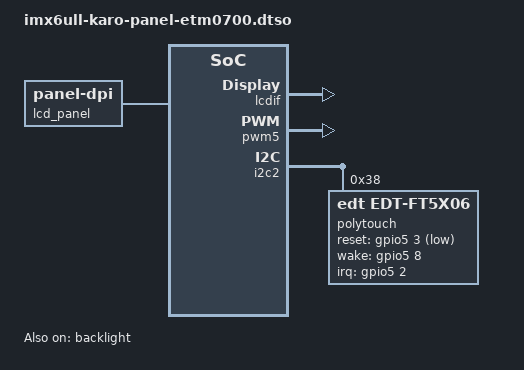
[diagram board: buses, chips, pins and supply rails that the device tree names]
// SPDX-License-Identifier: (GPL-2.0 OR MIT)
/*
 * Copyright 2026 Ka-Ro electronics GmbH
 *
 * EDT ETM0700G0DH6 800x480 RGB panel on the MB7 LCD connector.
 */

/dts-v1/;
/plugin/;

#include <dt-bindings/gpio/gpio.h>
#include <dt-bindings/interrupt-controller/irq.h>
#include "imx6ull-pinfunc-snvs.h"

&{/} {
	chosen {
		overlays {
			karo-panel-etm0700;
		};
	};
};

&lcdif {
	status = "okay";
};

&backlight {
	status = "okay";
};

&pwm5 {
	status = "okay";
};

&lcd_panel {
	compatible = "panel-dpi";
	data-mapping = "rgb24";
	width-mm = <152>;
	height-mm = <91>;
	status = "okay";

	panel-timing {
		clock-frequency = <33264000>;
		hactive = <800>;
		vactive = <480>;
		hback-porch = <88>;
		hsync-len = <128>;
		hfront-porch = <40>;
		vback-porch = <33>;
		vsync-len = <2>;
		vfront-porch = <10>;
		hsync-active = <0>;
		vsync-active = <0>;
		de-active = <1>;
		pixelclk-active = <0>;
	};
};

/* FT5x06 touch on the MB7 panel connector */
&i2c2 {
	polytouch: polytouch@38 {
		compatible = "edt,edt-ft5x06";
		reg = <0x38>;
		pinctrl-names = "default";
		pinctrl-0 = <&pinctrl_polytouch_snvs>;
		interrupt-parent = <&gpio5>;
		interrupts = <2 IRQ_TYPE_EDGE_FALLING>;
		reset-gpios = <&gpio5 3 GPIO_ACTIVE_LOW>;
		wake-gpios = <&gpio5 8 GPIO_ACTIVE_HIGH>;
		wakeup-source;
	};
};

&iomuxc_snvs {
	pinctrl_polytouch_snvs: edt-ft5x06grp {
		fsl,pins = <
			MX6ULL_PAD_SNVS_TAMPER2__GPIO5_IO02	0x1b0b0
			MX6ULL_PAD_SNVS_TAMPER3__GPIO5_IO03	0x1b0b0
			MX6ULL_PAD_SNVS_TAMPER8__GPIO5_IO08	0x1b0b0
		>;
	};
};
